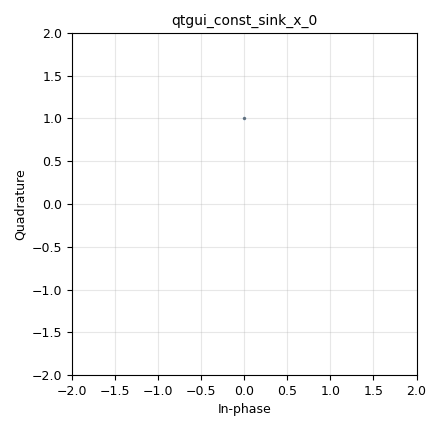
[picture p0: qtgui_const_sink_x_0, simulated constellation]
options:
  parameters:
    author: M. Doallo
    generate_options: qt_gui
    id: QT_GUI_Constellation_Sink_Test
    output_language: python
    title: Constellation Sink Demo
  states: {}

blocks:
- name: amplitud
  id: variable_qtgui_range
  parameters:
    gui_hint: 0,1,1,1
    label: Amplitud
    start: '0'
    step: '.1'
    stop: '1.2'
    value: '1'
  states: {}
- name: frecuencia
  id: variable_qtgui_range
  parameters:
    gui_hint: 0,0,1,1
    label: 'Frecuencia [Hz]:'
    start: '-2'
    step: '.1'
    stop: '2'
    value: '.2'
  states: {}
- name: samp_rate
  id: variable
  parameters:
    value: '32000'
  states: {}
- name: analog_sig_source_x_0
  id: analog_sig_source_x
  parameters:
    amp: amplitud
    freq: frecuencia
    offset: '0'
    phase: '0'
    samp_rate: samp_rate
    type: complex
    waveform: analog.GR_COS_WAVE
  states: {}
- name: blocks_throttle_0
  id: blocks_throttle
  parameters:
    samples_per_second: samp_rate
    type: complex
  states: {}
- name: import_0
  id: import
  parameters:
    imports: import math
  states: {}
- name: qtgui_const_sink_x_0
  id: qtgui_const_sink_x
  parameters:
    grid: 'True'
    gui_hint: 1,0,4,2
    size: '1'
    style1: '2'
    type: complex
    update_time: '0.01'
    width1: '2'
  states: {}

connections:
- [analog_sig_source_x_0, '0', blocks_throttle_0, '0']
- [analog_sig_source_x_0, '0', qtgui_const_sink_x_0, '0']

metadata:
  file_format: 1
